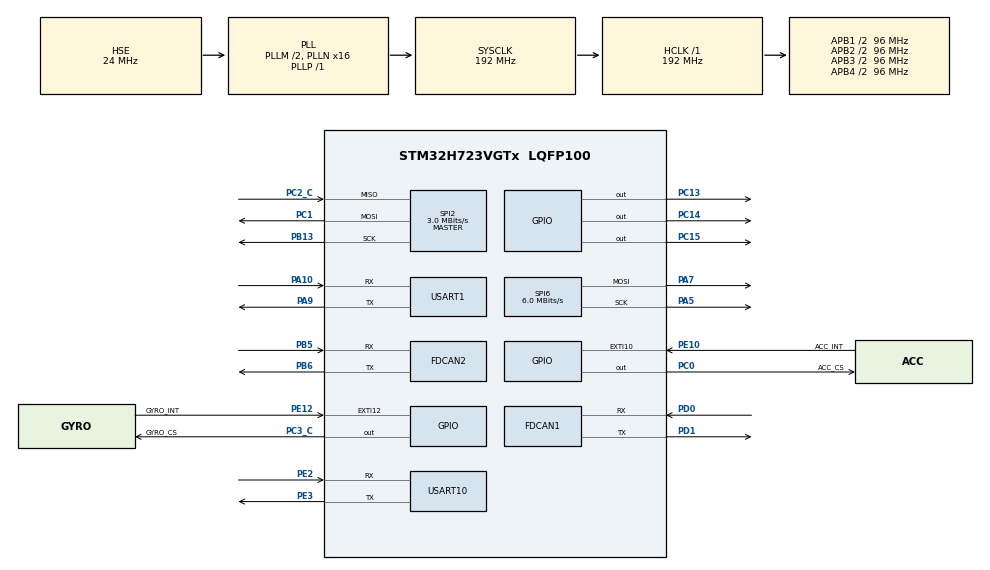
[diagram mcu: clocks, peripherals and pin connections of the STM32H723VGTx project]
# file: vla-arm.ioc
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Dma.Request0=SPI2_RX
Dma.Request1=SPI2_TX
Dma.SPI2_RX.0.Direction=DMA_PERIPH_TO_MEMORY
Dma.SPI2_RX.0.EventEnable=DISABLE
Dma.SPI2_RX.0.FIFOMode=DMA_FIFOMODE_DISABLE
Dma.SPI2_RX.0.Instance=DMA1_Stream0
Dma.SPI2_RX.0.MemDataAlignment=DMA_MDATAALIGN_BYTE
Dma.SPI2_RX.0.MemInc=DMA_MINC_ENABLE
Dma.SPI2_RX.0.Mode=DMA_NORMAL
Dma.SPI2_RX.0.PeriphDataAlignment=DMA_PDATAALIGN_BYTE
Dma.SPI2_RX.0.PeriphInc=DMA_PINC_DISABLE
Dma.SPI2_RX.0.Polarity=HAL_DMAMUX_REQ_GEN_RISING
Dma.SPI2_RX.0.Priority=DMA_PRIORITY_VERY_HIGH
Dma.SPI2_RX.0.RequestNumber=1
Dma.SPI2_RX.0.SignalID=NONE
Dma.SPI2_RX.0.SyncEnable=DISABLE
Dma.SPI2_RX.0.SyncPolarity=HAL_DMAMUX_SYNC_NO_EVENT
Dma.SPI2_RX.0.SyncRequestNumber=1
Dma.SPI2_RX.0.SyncSignalID=NONE
Dma.SPI2_TX.1.Direction=DMA_MEMORY_TO_PERIPH
Dma.SPI2_TX.1.EventEnable=DISABLE
Dma.SPI2_TX.1.FIFOMode=DMA_FIFOMODE_DISABLE
Dma.SPI2_TX.1.Instance=DMA1_Stream1
Dma.SPI2_TX.1.MemDataAlignment=DMA_MDATAALIGN_BYTE
Dma.SPI2_TX.1.MemInc=DMA_MINC_ENABLE
Dma.SPI2_TX.1.Mode=DMA_NORMAL
Dma.SPI2_TX.1.PeriphDataAlignment=DMA_PDATAALIGN_BYTE
Dma.SPI2_TX.1.PeriphInc=DMA_PINC_DISABLE
Dma.SPI2_TX.1.Polarity=HAL_DMAMUX_REQ_GEN_RISING
Dma.SPI2_TX.1.Priority=DMA_PRIORITY_HIGH
Dma.SPI2_TX.1.RequestNumber=1
Dma.SPI2_TX.1.SignalID=NONE
Dma.SPI2_TX.1.SyncEnable=DISABLE
Dma.SPI2_TX.1.SyncPolarity=HAL_DMAMUX_SYNC_NO_EVENT
Dma.SPI2_TX.1.SyncRequestNumber=1
Dma.SPI2_TX.1.SyncSignalID=NONE
FDCAN1.AutoRetransmission=DISABLE
FDCAN1.CalculateBaudRateNominal=1000000
FDCAN1.CalculateTimeBitNominal=1000
FDCAN1.CalculateTimeQuantumNominal=62.5
FDCAN1.DataPrescaler=6
FDCAN1.DataSyncJumpWidth=2
FDCAN1.DataTimeSeg1=13
FDCAN1.DataTimeSeg2=2
FDCAN1.ExtFiltersNbr=4
FDCAN1.Mode=FDCAN_MODE_NORMAL
FDCAN1.NominalPrescaler=6
FDCAN1.NominalSyncJumpWidth=2
FDCAN1.NominalTimeSeg1=13
FDCAN1.NominalTimeSeg2=2
FDCAN1.ProtocolException=ENABLE
FDCAN1.RxBuffersNbr=2
FDCAN1.RxFifo0ElmtsNbr=8
FDCAN1.RxFifo1ElmtsNbr=8
FDCAN1.StdFiltersNbr=4
FDCAN1.TxBuffersNbr=8
FDCAN1.TxEventsNbr=8
FDCAN1.TxFifoQueueElmtsNbr=8
FDCAN2.AutoRetransmission=DISABLE
FDCAN2.CalculateBaudRateNominal=1000000
FDCAN2.CalculateTimeBitNominal=1000
FDCAN2.CalculateTimeQuantumNominal=62.5
FDCAN2.DataPrescaler=6
FDCAN2.DataSyncJumpWidth=2
FDCAN2.DataTimeSeg1=13
FDCAN2.DataTimeSeg2=2
FDCAN2.ExtFiltersNbr=4
FDCAN2.NominalPrescaler=6
FDCAN2.NominalSyncJumpWidth=2
FDCAN2.NominalTimeSeg1=13
FDCAN2.NominalTimeSeg2=2
FDCAN2.ProtocolException=ENABLE
FDCAN2.RxBuffersNbr=2
FDCAN2.RxFifo0ElmtsNbr=8
FDCAN2.RxFifo1ElmtsNbr=8
FDCAN2.StdFiltersNbr=4
FDCAN2.TxBuffersNbr=8
FDCAN2.TxEventsNbr=8
FDCAN2.TxFifoQueueElmtsNbr=8
Mcu.Family=STM32H7
Mcu.Name=STM32H723VGTx
Mcu.Package=LQFP100
NVIC.DMA1_Stream0_IRQn=true\:1\:0\:true\:false\:true\:false\:true\:true
NVIC.DMA1_Stream1_IRQn=true\:2\:0\:true\:false\:true\:false\:true\:true
NVIC.FDCAN1_IT0_IRQn=true\:0\:0\:false\:false\:true\:true\:true\:true
NVIC.FDCAN1_IT1_IRQn=true\:0\:0\:false\:false\:true\:true\:true\:true
NVIC.FDCAN2_IT0_IRQn=true\:0\:0\:false\:false\:true\:true\:true\:true
NVIC.FDCAN2_IT1_IRQn=true\:0\:0\:false\:false\:true\:true\:true\:true
NVIC.PriorityGroup=NVIC_PRIORITYGROUP_4
NVIC.SPI2_IRQn=true\:5\:0\:true\:false\:true\:false\:true\:true
NVIC.TIM2_IRQn=true\:0\:0\:false\:false\:true\:true\:true\:true
NVIC.USART10_IRQn=true\:0\:0\:false\:false\:true\:true\:true\:true
PA10.Mode=Asynchronous
PA10.Signal=USART1_RX
PA13(JTMS/SWDIO).Mode=Serial_Wire
PA13(JTMS/SWDIO).Signal=DEBUG_JTMS-SWDIO
PA14(JTCK/SWCLK).Mode=Serial_Wire
PA14(JTCK/SWCLK).Signal=DEBUG_JTCK-SWCLK
PA5.GPIO_Speed=GPIO_SPEED_FREQ_VERY_HIGH
PA5.Mode=TX_Only_Simplex_Unidirect_Master
PA5.Signal=SPI6_SCK
PA7.GPIO_Speed=GPIO_SPEED_FREQ_VERY_HIGH
PA7.Mode=TX_Only_Simplex_Unidirect_Master
PA7.Signal=SPI6_MOSI
PA9.Mode=Asynchronous
PA9.Signal=USART1_TX
PB13.GPIO_Speed=GPIO_SPEED_FREQ_VERY_HIGH
PB13.Mode=Full_Duplex_Master
PB13.Signal=SPI2_SCK
PB5.Mode=FDCAN_Activate
PB5.Signal=FDCAN2_RX
PB6.GPIO_FM6=SYSCFG_PMCR_I2C_PB6_FMP
PB6.Mode=FDCAN_Activate
PB6.Signal=FDCAN2_TX
PC0.GPIO_Label=ACC_CS
PC0.GPIO_Speed=GPIO_SPEED_FREQ_VERY_HIGH
PC0.PinState=GPIO_PIN_SET
PC0.Signal=GPIO_Output
PC1.GPIO_Speed=GPIO_SPEED_FREQ_VERY_HIGH
PC1.Mode=Full_Duplex_Master
PC1.Signal=SPI2_MOSI
PC13.Signal=GPIO_Output
PC14-OSC32_IN.Signal=GPIO_Output
PC15-OSC32_OUT.Signal=GPIO_Output
PC2_C.GPIO_Speed=GPIO_SPEED_FREQ_VERY_HIGH
PC2_C.Mode=Full_Duplex_Master
PC2_C.Signal=SPI2_MISO
PC3_C.GPIO_Label=GYRO_CS
PC3_C.GPIO_Speed=GPIO_SPEED_FREQ_VERY_HIGH
PC3_C.PinState=GPIO_PIN_SET
PC3_C.Signal=GPIO_Output
PD0.Mode=FDCAN_Activate
PD0.Signal=FDCAN1_RX
PD1.Mode=FDCAN_Activate
PD1.Signal=FDCAN1_TX
PE10.GPIO_Label=ACC_INT
PE10.Signal=GPXTI10
PE12.GPIO_Label=GYRO_INT
PE12.Signal=GPXTI12
PE2.Mode=Asynchronous
PE2.Signal=USART10_RX
PE3.Mode=Asynchronous
PE3.Signal=USART10_TX
PH0-OSC_IN.Mode=HSE-External-Oscillator
PH0-OSC_IN.Signal=RCC_OSC_IN
PH1-OSC_OUT.Mode=HSE-External-Oscillator
PH1-OSC_OUT.Signal=RCC_OSC_OUT
ProjectManager.HeapSize=0x200
ProjectManager.StackSize=0x800
ProjectManager.TargetToolchain=STM32CubeIDE
RCC.ADCFreq_Value=48375000
RCC.APB1Freq_Value=96000000
RCC.APB2Freq_Value=96000000
RCC.APB3Freq_Value=96000000
RCC.APB4Freq_Value=96000000
RCC.CortexFreq_Value=192000000
RCC.D1PPRE=RCC_APB3_DIV2
RCC.D2PPRE1=RCC_APB1_DIV2
RCC.D2PPRE2=RCC_APB2_DIV2
RCC.D3PPRE=RCC_APB4_DIV2
RCC.DIVM1=2
RCC.DIVN1=16
RCC.DIVP1=1
RCC.HCLKFreq_Value=192000000
RCC.HSE_VALUE=24000000
RCC.PLL2FRACN=0
RCC.PLL3FRACN=0
RCC.PLLFRACN=0
RCC.PLLSourceVirtual=RCC_PLLSOURCE_HSE
RCC.SPI6CLockSelection=RCC_SPI6CLKSOURCE_HSE
RCC.SYSCLKFreq_VALUE=192000000
RCC.SYSCLKSource=RCC_SYSCLKSOURCE_PLLCLK
RCC.USBFreq_Value=96000000
SPI2.BaudRatePrescaler=SPI_BAUDRATEPRESCALER_32
SPI2.CLKPhase=SPI_PHASE_2EDGE
SPI2.CLKPolarity=SPI_POLARITY_HIGH
SPI2.CalculateBaudRate=3.0 MBits/s
SPI2.DataSize=SPI_DATASIZE_8BIT
SPI2.Direction=SPI_DIRECTION_2LINES
SPI2.Mode=SPI_MODE_MASTER
SPI2.VirtualType=VM_MASTER
SPI6.BaudRatePrescaler=SPI_BAUDRATEPRESCALER_4
SPI6.CLKPhase=SPI_PHASE_2EDGE
SPI6.CalculateBaudRate=6.0 MBits/s
SPI6.DataSize=SPI_DATASIZE_8BIT
SPI6.Direction=SPI_DIRECTION_2LINES_TXONLY
SPI6.Mode=SPI_MODE_MASTER
SPI6.VirtualType=VM_MASTER
TIM2.Period=999
TIM2.Prescaler=239
USART1.VirtualMode-Asynchronous=VM_ASYNC
USART10.VirtualMode=VM_ASYNC
VP_MEMORYMAP_VS_MEMORYMAP.Mode=CurAppReg
VP_TIM2_VS_ClockSourceINT.Mode=Internal
board=custom

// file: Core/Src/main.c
/* USER CODE BEGIN Header */
/* USER CODE END Header */
#include "main.h"
#include "dma.h"
#include "fdcan.h"
#include "spi.h"
#include "tim.h"
#include "usart.h"
#include "gpio.h"

/* USER CODE BEGIN PD */
#include "ws2812.h"
#include "bsp_fdcan.h"
#include <stdio.h>
#include <string.h>
#include <stdarg.h>
#include <math.h>
/* USER CODE END PD */

/* USER CODE BEGIN PM */
typedef struct {
    uint8_t node_id;
    float pos_deg;
    float vel_rpm;
    uint32_t rx_count;
    uint32_t last_rx_ms;
} JC_MotorState;

#define NODE_LEADER_GRIPPER           1   // CAN1
#define NODE_LEADER_WRIST             3   // CAN1
#define NODE_FOLLOWER_GRIPPER         2   // CAN2
#define NODE_FOLLOWER_WRIST           4   // CAN2

static JC_MotorState leader_gripper   = {NODE_LEADER_GRIPPER,   0};
static JC_MotorState leader_wrist     = {NODE_LEADER_WRIST,     0};
static JC_MotorState follower_gripper = {NODE_FOLLOWER_GRIPPER, 0};
static JC_MotorState follower_wrist   = {NODE_FOLLOWER_WRIST,   0};

/* USER CODE END PM */

/* USER CODE BEGIN PV */
// 1kHz control flag from TIM2
volatile uint8_t loop_1khz_flag = 0;

// timing/debug
static uint32_t loop_count = 0;
static uint32_t can_tx_drop = 0;
static uint32_t can_rx_other = 0;

// virtual coupling gains
#define CTRL_DIV 1 // 1=1khz,2=500hz, 4=250hz, 10=100hz, 100=10hz,

static float K_COUPLE = 0.16f;
static float D_COUPLE = 0.012f;
static float TAU_MAX  = 0.25f;

static const float DEG2RAD = 0.01745329252f;
static const float RPM2RAD = 0.10471975512f;
/* USER CODE END PV */

void SystemClock_Config(void);

/* USER CODE BEGIN 0 */
// ===== WS2812 LED status helpers =====
static inline void led_yellow(void){ WS2812_Ctrl(60, 60, 0); }
static inline void led_red(void)   { WS2812_Ctrl(80, 0, 0);  }
static inline void led_green(void) { WS2812_Ctrl(0, 80, 0);  }

// ===== UART1 logging =====
static char logbuf[192];

static void log_uart1(const char *s)
{
    HAL_UART_Transmit(&huart1, (uint8_t*)s, (uint16_t)strlen(s), 100);
}

static void logf_uart1(const char *fmt, ...)
{
    va_list ap;
    va_start(ap, fmt);
    int n = vsnprintf(logbuf, sizeof(logbuf), fmt, ap);
    va_end(ap);
    if (n < 0) return;
    size_t len = strnlen(logbuf, sizeof(logbuf));
    HAL_UART_Transmit(&huart1, (uint8_t*)logbuf, (uint16_t)len, 100);
}

// ===== Power 1 enable: PC14 =====
#define MOTOR_EN_PORT GPIOC
#define MOTOR_EN_PIN_1  GPIO_PIN_14
#define MOTOR_EN_PIN_2  GPIO_PIN_13

static inline void arm_enable(uint8_t en)
{
    HAL_GPIO_WritePin(MOTOR_EN_PORT, MOTOR_EN_PIN_1, en ? GPIO_PIN_SET : GPIO_PIN_RESET);
    HAL_GPIO_WritePin(MOTOR_EN_PORT, MOTOR_EN_PIN_2, en ? GPIO_PIN_SET : GPIO_PIN_RESET);
}

// ===== JC protocol helpers =====
static inline uint16_t jc_tx_id(uint8_t node_id){ return (uint16_t)(0x600 + node_id); }

static inline float clampf(float x, float lo, float hi)
{
    if (x > hi) return hi;
    if (x < lo) return lo;
    return x;
}

static inline int16_t be_s16(const uint8_t *p)
{
    return (int16_t)((uint16_t)p[0] << 8 | p[1]);
}

static inline int32_t be_s24(const uint8_t *p)
{
    int32_t v = ((int32_t)p[0] << 16) | ((int32_t)p[1] << 8) | p[2];
    if (v & 0x00800000) v |= 0xFF000000;
    return v;
}

static int jc_send8(FDCAN_HandleTypeDef *hcan, uint16_t std_id, const uint8_t d[8])
{
    int r = fdcanx_send_data(hcan, std_id, (uint8_t*)d, 8);
    if (r != 0) can_tx_drop++;
    return r;
}

static int jc_set_mode(FDCAN_HandleTypeDef *hcan, uint8_t node_id, uint16_t mode)
{
    uint8_t d[8] = {0x2B, 0x00, 0x60, 0x00, 0, 0, 0, 0};
    d[4] = (uint8_t)(mode >> 8);
    d[5] = (uint8_t)(mode & 0xFF);
    return jc_send8(hcan, jc_tx_id(node_id), d);
}

static int jc_enter_closed_loop(FDCAN_HandleTypeDef *hcan, uint8_t node_id)
{
    uint8_t d[8] = {0x2B, 0x00, 0xA2, 0x00, 0x00, 0x01, 0x00, 0x00};
    return jc_send8(hcan, jc_tx_id(node_id), d);
}

static int jc_idle(FDCAN_HandleTypeDef *hcan, uint8_t node_id)
{
    uint8_t d[8] = {0x2B, 0x00, 0xA0, 0x00, 0x00, 0x01, 0x00, 0x00};
    return jc_send8(hcan, jc_tx_id(node_id), d);
}

static int jc_set_torque_nm(FDCAN_HandleTypeDef *hcan, uint8_t node_id, float torque_nm)
{
    torque_nm = clampf(torque_nm, -TAU_MAX, TAU_MAX);
    int16_t v = (int16_t)(torque_nm * 100.0f); // JC: Nm * 100

    uint8_t d[8] = {0x2B, 0x00, 0x20, 0x00, 0, 0, 0, 0};
    d[4] = (uint8_t)((v >> 8) & 0xFF);
    d[5] = (uint8_t)(v & 0xFF);
    return jc_send8(hcan, jc_tx_id(node_id), d);
}

void can_parse_feedback(FDCAN_HandleTypeDef *hcan, uint16_t rx_id, uint8_t *d, uint8_t len)
{
    if (len != 8) return;

    JC_MotorState *m = NULL;

    if (hcan == &hfdcan1 && rx_id == 0x580 + NODE_LEADER_GRIPPER) {
        m = &leader_gripper;
    }
    else if (hcan == &hfdcan1 && rx_id == 0x580 + NODE_LEADER_WRIST) {
        m = &leader_wrist;
    }
    else if (hcan == &hfdcan2 && rx_id == 0x580 + NODE_FOLLOWER_GRIPPER) {
        m = &follower_gripper;
    }
    else if (hcan == &hfdcan2 && rx_id == 0x580 + NODE_FOLLOWER_WRIST) {
        m = &follower_wrist;
    }
    else {
        can_rx_other++;
        return;
    }

    if (d[0] == 0x2A) {
        int32_t pos_raw = be_s24(&d[1]);
        int16_t vel_raw = be_s16(&d[4]);

        m->pos_deg = (float)pos_raw / 100.0f;
        m->vel_rpm = (float)vel_raw / 100.0f;
        m->rx_count++;
        m->last_rx_ms = HAL_GetTick();
    }
}

static void fatal(const char *msg)
{
    led_red();
    logf_uart1("[FATAL] %s\r\n", msg);
    arm_enable(0);
    __disable_irq();
    while (1) { HAL_Delay(1000); }
}
/* USER CODE END 0 */

int main(void)
{

  /* MCU Configuration--------------------------------------------------------*/

  /* Reset of all peripherals, Initializes the Flash interface and the Systick. */
  HAL_Init();

  /* Configure the system clock */
  SystemClock_Config();

  /* Initialize all configured peripherals */
  MX_GPIO_Init();
  MX_DMA_Init();
  MX_SPI2_Init();
  MX_USART1_UART_Init();
  MX_TIM2_Init();
  MX_FDCAN1_Init();
  MX_FDCAN2_Init();
  MX_USART10_UART_Init();
  MX_SPI6_Init();
  /* USER CODE BEGIN 2 */
  led_yellow();
  log_uart1("\r\n[BOOT] H725/H723 JC gripper 1kHz force-feedback demo\r\n");

  arm_enable(0);
  HAL_Delay(50);

  log_uart1("[INIT] CAN...\r\n");
  bsp_can_init();
  HAL_Delay(50);

  // If bsp_can_init() does not already enable RX interrupt, this makes it explicit.
  HAL_FDCAN_ActivateNotification(&hfdcan1, FDCAN_IT_RX_FIFO0_NEW_MESSAGE, 0);
  HAL_FDCAN_ActivateNotification(&hfdcan2, FDCAN_IT_RX_FIFO0_NEW_MESSAGE, 0);

  HAL_TIM_Base_Start_IT(&htim2);

  log_uart1("[INIT] motor power enable\r\n");
  arm_enable(1);
  HAL_Delay(500);

  log_uart1("[INIT] idle motors\r\n");
  jc_idle(&hfdcan1, NODE_LEADER_GRIPPER);
  HAL_Delay(50);
  jc_idle(&hfdcan1, NODE_LEADER_WRIST);
  HAL_Delay(50);
  jc_idle(&hfdcan2, NODE_FOLLOWER_GRIPPER);
  HAL_Delay(50);
  jc_idle(&hfdcan2, NODE_FOLLOWER_WRIST);
  HAL_Delay(50);

  log_uart1("[INIT] closed loop\r\n");
  if (jc_enter_closed_loop(&hfdcan1, NODE_LEADER_GRIPPER) != 0) fatal("closed leader gripper");
  HAL_Delay(50);
  if (jc_enter_closed_loop(&hfdcan1, NODE_LEADER_WRIST) != 0) fatal("closed leader wrist");
  HAL_Delay(50);
  if (jc_enter_closed_loop(&hfdcan2, NODE_FOLLOWER_GRIPPER) != 0) fatal("closed follower gripper");
  HAL_Delay(50);
  if (jc_enter_closed_loop(&hfdcan2, NODE_FOLLOWER_WRIST) != 0) fatal("closed follower wrist");
  HAL_Delay(50);

  log_uart1("[INIT] torque mode\r\n");
  jc_set_mode(&hfdcan1, NODE_LEADER_GRIPPER, 0);   HAL_Delay(50);
  jc_set_mode(&hfdcan1, NODE_LEADER_WRIST, 0);     HAL_Delay(50);
  jc_set_mode(&hfdcan2, NODE_FOLLOWER_GRIPPER, 0); HAL_Delay(50);
  jc_set_mode(&hfdcan2, NODE_FOLLOWER_WRIST, 0);   HAL_Delay(50);

  jc_set_torque_nm(&hfdcan1, NODE_LEADER_GRIPPER, 0.0f);    HAL_Delay(20);
  jc_set_torque_nm(&hfdcan1, NODE_LEADER_WRIST, 0.0f);      HAL_Delay(20);
  jc_set_torque_nm(&hfdcan2, NODE_FOLLOWER_GRIPPER, 0.0f);  HAL_Delay(20);
  jc_set_torque_nm(&hfdcan2, NODE_FOLLOWER_WRIST, 0.0f);    HAL_Delay(20);

  led_green();
  logf_uart1("[OK] 1kHz demo running. leader=%d follower=%d\r\n", NODE_LEADER_GRIPPER, NODE_FOLLOWER_GRIPPER);
  /* USER CODE END 2 */

  /* Infinite loop */
  /* USER CODE BEGIN WHILE */
  uint32_t last_log_ms = HAL_GetTick();
  while (1)
  {
    if (!loop_1khz_flag) continue;
    loop_1khz_flag = 0;
    loop_count++;
    if ((loop_count % CTRL_DIV) != 0)
    {
        continue;
    }

    float err_g_deg = leader_gripper.pos_deg - follower_gripper.pos_deg;
    float dq_g = leader_gripper.vel_rpm * RPM2RAD - follower_gripper.vel_rpm * RPM2RAD;
    float tau_g = -K_COUPLE * (err_g_deg * DEG2RAD) - D_COUPLE * dq_g;
    tau_g = clampf(tau_g, -TAU_MAX, TAU_MAX);

    float err_w_deg = leader_wrist.pos_deg - follower_wrist.pos_deg;
    float dq_w = leader_wrist.vel_rpm * RPM2RAD - follower_wrist.vel_rpm * RPM2RAD;
    float tau_w = -K_COUPLE * (err_w_deg * DEG2RAD) - D_COUPLE * dq_w;
    tau_w = clampf(tau_w, -TAU_MAX, TAU_MAX);

    int r1 = jc_set_torque_nm(&hfdcan1, NODE_LEADER_GRIPPER, tau_g);
    int r2 = jc_set_torque_nm(&hfdcan2, NODE_FOLLOWER_GRIPPER, -tau_g);

    int r3 = jc_set_torque_nm(&hfdcan1, NODE_LEADER_WRIST, tau_w);
    int r4 = jc_set_torque_nm(&hfdcan2, NODE_FOLLOWER_WRIST, -tau_w);

    // 10Hz debug only. Do not print at 1kHz.
    uint32_t now = HAL_GetTick();
    if ((now - last_log_ms) >= 100)
    {
        last_log_ms = now;

        logf_uart1(
            "G %.1f %.1f tau %.3f | W %.1f %.1f tau %.3f | rx %lu %lu %lu %lu | r %d %d %d %d\r\n",
            leader_gripper.pos_deg,
            follower_gripper.pos_deg,
            tau_g,
            leader_wrist.pos_deg,
            follower_wrist.pos_deg,
            tau_w,
            leader_gripper.rx_count,
            follower_gripper.rx_count,
            leader_wrist.rx_count,
            follower_wrist.rx_count,
            r1, r2, r3, r4
        );
    }

    /* USER CODE END WHILE */

  }
}

void SystemClock_Config(void)
{
  RCC_OscInitTypeDef RCC_OscInitStruct = {0};
  RCC_ClkInitTypeDef RCC_ClkInitStruct = {0};

  /** Supply configuration update enable
  */
  HAL_PWREx_ConfigSupply(PWR_LDO_SUPPLY);

  /** Configure the main internal regulator output voltage
  */
  __HAL_PWR_VOLTAGESCALING_CONFIG(PWR_REGULATOR_VOLTAGE_SCALE1);

  while(!__HAL_PWR_GET_FLAG(PWR_FLAG_VOSRDY)) {}

  /** Initializes the RCC Oscillators according to the specified parameters
  * in the RCC_OscInitTypeDef structure.
  */
  RCC_OscInitStruct.OscillatorType = RCC_OSCILLATORTYPE_HSE;
  RCC_OscInitStruct.HSEState = RCC_HSE_ON;
  RCC_OscInitStruct.PLL.PLLState = RCC_PLL_ON;
  RCC_OscInitStruct.PLL.PLLSource = RCC_PLLSOURCE_HSE;
  RCC_OscInitStruct.PLL.PLLM = 2;
  RCC_OscInitStruct.PLL.PLLN = 16;
  RCC_OscInitStruct.PLL.PLLP = 1;
  RCC_OscInitStruct.PLL.PLLQ = 2;
  RCC_OscInitStruct.PLL.PLLR = 2;
  RCC_OscInitStruct.PLL.PLLRGE = RCC_PLL1VCIRANGE_3;
  RCC_OscInitStruct.PLL.PLLVCOSEL = RCC_PLL1VCOWIDE;
  RCC_OscInitStruct.PLL.PLLFRACN = 0;
  if (HAL_RCC_OscConfig(&RCC_OscInitStruct) != HAL_OK)
  {
    Error_Handler();
  }

  /** Initializes the CPU, AHB and APB buses clocks
  */
  RCC_ClkInitStruct.ClockType = RCC_CLOCKTYPE_HCLK|RCC_CLOCKTYPE_SYSCLK
                              |RCC_CLOCKTYPE_PCLK1|RCC_CLOCKTYPE_PCLK2
                              |RCC_CLOCKTYPE_D3PCLK1|RCC_CLOCKTYPE_D1PCLK1;
  RCC_ClkInitStruct.SYSCLKSource = RCC_SYSCLKSOURCE_PLLCLK;
  RCC_ClkInitStruct.SYSCLKDivider = RCC_SYSCLK_DIV1;
  RCC_ClkInitStruct.AHBCLKDivider = RCC_HCLK_DIV1;
  RCC_ClkInitStruct.APB3CLKDivider = RCC_APB3_DIV2;
  RCC_ClkInitStruct.APB1CLKDivider = RCC_APB1_DIV2;
  RCC_ClkInitStruct.APB2CLKDivider = RCC_APB2_DIV2;
  RCC_ClkInitStruct.APB4CLKDivider = RCC_APB4_DIV2;

  if (HAL_RCC_ClockConfig(&RCC_ClkInitStruct, FLASH_LATENCY_2) != HAL_OK)
  {
    Error_Handler();
  }
}

/* USER CODE BEGIN 4 */
void HAL_TIM_PeriodElapsedCallback(TIM_HandleTypeDef *htim)
{
    if (htim->Instance == TIM2)
    {
        loop_1khz_flag = 1;
    }
}

/* USER CODE END 4 */

void Error_Handler(void)
{
}
